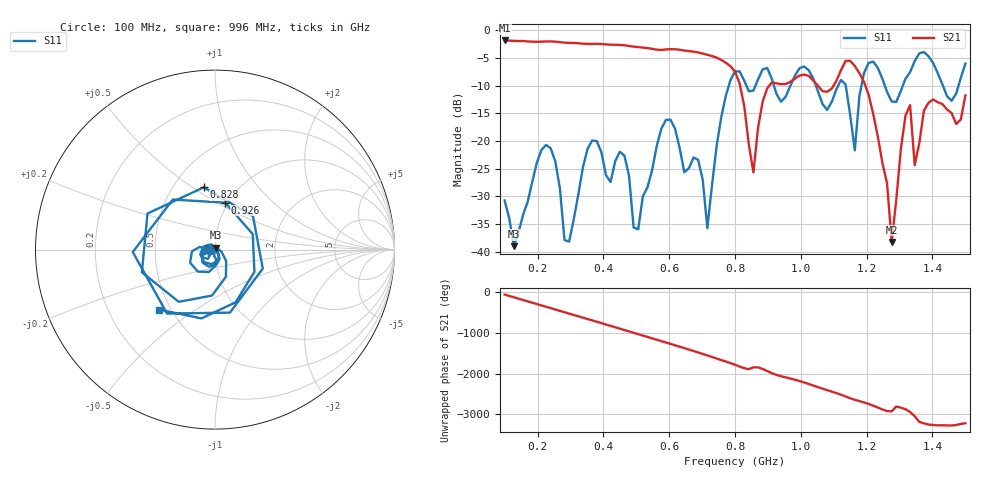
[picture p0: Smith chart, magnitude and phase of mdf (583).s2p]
! NanoVNA-App
! Date: 2025-09-25 15:42:57
! Start: 100MHz Stop: 1,5GHz Points: 101
! S-Parameter data: F S11 S21 S12 S22
# Hz S RI R 50
!  Frequency  S11_Real  S11_Imag  S21_Real  S21_Imag  S12_Real  S12_Imag  S22_Real  S22_Imag
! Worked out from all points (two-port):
!   101 points, 100 MHz to 1.5 GHz, reference 50 ohm
!   highest |S21| = -1.80 dB at 100 MHz (marker M1); lowest = -38.2 dB at 1.276 GHz (marker M2)
!   |S21| within 3 dB of the highest: start of sweep to 739.1 MHz
!   lowest |S11| = -39.0 dB at 128 MHz (marker M3), VSWR 1.02, Z = 50.3 + j1.08 ohm
!   |S11| at or under -10 dB: start of sweep to 781.1 MHz; 918.4 MHz to 968.2 MHz (49.78 MHz wide, 5.28 % of centre); 1.046 GHz to 1.113 GHz (67.19 MHz wide, 6.22 % of centre) (the widest 3 of 7)
!   S12 and S22 are empty: the file has one direction only
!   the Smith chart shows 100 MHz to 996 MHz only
!   S11 on the Smith chart (normalised r, x): 100 MHz: 0.94, -0.01; 828 MHz: 0.70, +0.56; 926 MHz: 0.97, +0.55; 996 MHz: 0.43, -0.37
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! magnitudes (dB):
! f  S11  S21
! 100 MHz  -30.7  -1.8
! 128 MHz  -39.0  -1.9
! 212 MHz  -21.6  -2.0
! 282 MHz  -37.9  -2.2
! 338 MHz  -24.7  -2.4
! 464 MHz  -22.6  -2.7
! 506 MHz  -35.9  -3.0
! 576 MHz  -17.8  -3.5
! 716 MHz  -35.7  -4.4
! 800 MHz  -7.4  -7.4
! 828 MHz  -9.1  -13.6
! 856 MHz  -10.9  -25.7
! 926 MHz  -11.5  -9.6
! 996 MHz  -6.8  -8.1
! 1.038 GHz  -8.7  -9.1
! 1.136 GHz  -9.7  -5.5
! 1.164 GHz  -21.6  -6.4
! 1.192 GHz  -7.7  -9.3
! 1.276 GHz  -12.8  -38.2
! 1.332 GHz  -7.5  -13.5
! 1.346 GHz  -5.5  -24.3
! 1.5 GHz  -6.0  -11.7
